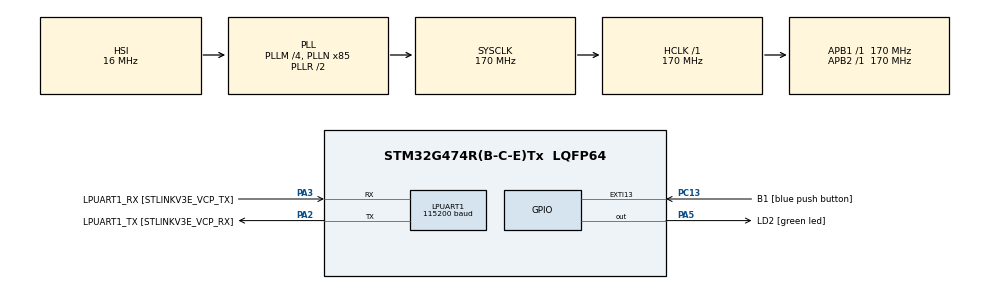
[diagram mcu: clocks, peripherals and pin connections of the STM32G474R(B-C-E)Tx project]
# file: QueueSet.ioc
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FREERTOS.Tasks01=defaultTask,24,128,StartDefaultTask,Default,NULL,Dynamic,NULL,NULL
FREERTOS.configENABLE_FPU=1
FREERTOS.configGENERATE_RUN_TIME_STATS=1
FREERTOS.configTOTAL_HEAP_SIZE=51200
FREERTOS.configUSE_NEWLIB_REENTRANT=1
FREERTOS.configUSE_STATS_FORMATTING_FUNCTIONS=1
LPUART1.BaudRate=115200
LPUART1.WordLength=UART_WORDLENGTH_8B
Mcu.Family=STM32G4
Mcu.Name=STM32G474R(B-C-E)Tx
Mcu.Package=LQFP64
NVIC.EXTI15_10_IRQn=true\:5\:0\:false\:false\:true\:true\:true\:true\:true
NVIC.PriorityGroup=NVIC_PRIORITYGROUP_4
NVIC.TIM1_UP_TIM16_IRQn=true\:15\:0\:false\:false\:true\:false\:false\:true\:true
NVIC.TimeBase=TIM1_UP_TIM16_IRQn
NVIC.TimeBaseIP=TIM1
PA13.GPIO_Label=T_SWDIO
PA13.Mode=Serial_Wire
PA13.Signal=SYS_JTMS-SWDIO
PA14.GPIO_Label=T_SWCLK
PA14.Mode=Serial_Wire
PA14.Signal=SYS_JTCK-SWCLK
PA2.GPIO_Label=LPUART1_TX [STLINKV3E_VCP_RX]
PA2.Mode=Asynchronous
PA2.Signal=LPUART1_TX
PA3.GPIO_Label=LPUART1_RX [STLINKV3E_VCP_TX]
PA3.Mode=Asynchronous
PA3.Signal=LPUART1_RX
PA5.GPIO_Label=LD2 [green led]
PA5.Signal=GPIO_Output
PB3.GPIO_Label=T_SWO
PB3.Signal=SYS_JTDO-SWO
PC13.GPIO_Label=B1 [blue push button]
PC13.Signal=GPXTI13
PC14-OSC32_IN.Mode=LSE-External-Oscillator
PC14-OSC32_IN.Signal=RCC_OSC32_IN
PC15-OSC32_OUT.Mode=LSE-External-Oscillator
PC15-OSC32_OUT.Signal=RCC_OSC32_OUT
PF0-OSC_IN.Mode=HSE-External-Oscillator
PF0-OSC_IN.Signal=RCC_OSC_IN
PF1-OSC_OUT.Mode=HSE-External-Oscillator
PF1-OSC_OUT.Signal=RCC_OSC_OUT
ProjectManager.HeapSize=0x200
ProjectManager.StackSize=0x400
ProjectManager.TargetToolchain=STM32CubeIDE
RCC.ADC12Freq_Value=170000000
RCC.ADC345Freq_Value=170000000
RCC.AHBFreq_Value=170000000
RCC.APB1Freq_Value=170000000
RCC.APB1TimFreq_Value=170000000
RCC.APB2Freq_Value=170000000
RCC.APB2TimFreq_Value=170000000
RCC.CortexFreq_Value=170000000
RCC.EXTERNAL_CLOCK_VALUE=12288000
RCC.HCLKFreq_Value=170000000
RCC.HSE_VALUE=24000000
RCC.HSI48_VALUE=48000000
RCC.HSI_VALUE=16000000
RCC.PLLM=RCC_PLLM_DIV4
RCC.PLLN=85
RCC.RTCClockSelection=RCC_RTCCLKSOURCE_LSE
RCC.SYSCLKFreq_VALUE=170000000
RCC.SYSCLKSource=RCC_SYSCLKSOURCE_PLLCLK
RCC.USBFreq_Value=170000000
RCC.VCOOutputFreq_Value=340000000
VP_FREERTOS_VS_CMSIS_V2.Mode=CMSIS_V2
VP_SYS_VS_DBSignals.Mode=DisableDeadBatterySignals
VP_SYS_VS_tim1.Mode=TIM1
board=NUCLEO-G474RE

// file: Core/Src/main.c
/* USER CODE BEGIN Header */
/**
  ******************************************************************************
  * @file           : main.c
  * @brief          : Main program body
  ******************************************************************************
  * @attention
  *
  * Copyright (c) 2023 STMicroelectronics.
  * All rights reserved.
  *
  * This software is licensed under terms that can be found in the LICENSE file
  * in the root directory of this software component.
  * If no LICENSE file comes with this software, it is provided AS-IS.
  *
  ******************************************************************************
  */
/* USER CODE END Header */
#include "main.h"
#include "cmsis_os.h"
#include "usart.h"
#include "gpio.h"

/* USER CODE BEGIN Includes */
#include "stdio.h"
/* USER CODE END Includes */

/* USER CODE BEGIN PD */
#ifdef __GNUC__
#define PUTCHAR_PROTOTYPE int __io_putchar(int ch)
#else
#define PUTCHAR_PROTOTYPE int fputc(int ch, FILE *f)
#endif
// 串口输出调试信息
PUTCHAR_PROTOTYPE {
    HAL_UART_Transmit(&hlpuart1, (uint8_t *) &ch, 1, 0xFFFF);//阻塞方式打印,串口1
    return ch;
}
/* USER CODE END PD */

void SystemClock_Config(void);
void MX_FREERTOS_Init(void);

int main(void)
{

  /* MCU Configuration--------------------------------------------------------*/

  /* Reset of all peripherals, Initializes the Flash interface and the Systick. */
  HAL_Init();

  /* Configure the system clock */
  SystemClock_Config();

  /* Initialize all configured peripherals */
  MX_GPIO_Init();
  MX_LPUART1_UART_Init();

  /* Init scheduler */
  osKernelInitialize();  /* Call init function for freertos objects (in freertos.c) */
  MX_FREERTOS_Init();

  /* Start scheduler */
  osKernelStart();

  /* We should never get here as control is now taken by the scheduler */
  /* Infinite loop */
  while (1)
  {

  }
}

void SystemClock_Config(void)
{
  RCC_OscInitTypeDef RCC_OscInitStruct = {0};
  RCC_ClkInitTypeDef RCC_ClkInitStruct = {0};

  /** Configure the main internal regulator output voltage
  */
  HAL_PWREx_ControlVoltageScaling(PWR_REGULATOR_VOLTAGE_SCALE1_BOOST);

  /** Initializes the RCC Oscillators according to the specified parameters
  * in the RCC_OscInitTypeDef structure.
  */
  RCC_OscInitStruct.OscillatorType = RCC_OSCILLATORTYPE_HSI;
  RCC_OscInitStruct.HSIState = RCC_HSI_ON;
  RCC_OscInitStruct.HSICalibrationValue = RCC_HSICALIBRATION_DEFAULT;
  RCC_OscInitStruct.PLL.PLLState = RCC_PLL_ON;
  RCC_OscInitStruct.PLL.PLLSource = RCC_PLLSOURCE_HSI;
  RCC_OscInitStruct.PLL.PLLM = RCC_PLLM_DIV4;
  RCC_OscInitStruct.PLL.PLLN = 85;
  RCC_OscInitStruct.PLL.PLLP = RCC_PLLP_DIV2;
  RCC_OscInitStruct.PLL.PLLQ = RCC_PLLQ_DIV2;
  RCC_OscInitStruct.PLL.PLLR = RCC_PLLR_DIV2;
  if (HAL_RCC_OscConfig(&RCC_OscInitStruct) != HAL_OK)
  {
    Error_Handler();
  }

  /** Initializes the CPU, AHB and APB buses clocks
  */
  RCC_ClkInitStruct.ClockType = RCC_CLOCKTYPE_HCLK|RCC_CLOCKTYPE_SYSCLK
                              |RCC_CLOCKTYPE_PCLK1|RCC_CLOCKTYPE_PCLK2;
  RCC_ClkInitStruct.SYSCLKSource = RCC_SYSCLKSOURCE_PLLCLK;
  RCC_ClkInitStruct.AHBCLKDivider = RCC_SYSCLK_DIV1;
  RCC_ClkInitStruct.APB1CLKDivider = RCC_HCLK_DIV1;
  RCC_ClkInitStruct.APB2CLKDivider = RCC_HCLK_DIV1;

  if (HAL_RCC_ClockConfig(&RCC_ClkInitStruct, FLASH_LATENCY_4) != HAL_OK)
  {
    Error_Handler();
  }
}

void HAL_TIM_PeriodElapsedCallback(TIM_HandleTypeDef *htim)
{
  if (htim->Instance == TIM1) {
    HAL_IncTick();
  }
}

void Error_Handler(void)
{
  __disable_irq();
  while (1)
  {
  }
}

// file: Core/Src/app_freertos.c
/* USER CODE BEGIN Header */
/**
  ******************************************************************************
  * File Name          : app_freertos.c
  * Description        : Code for freertos applications
  ******************************************************************************
  * @attention
  *
  * Copyright (c) 2023 STMicroelectronics.
  * All rights reserved.
  *
  * This software is licensed under terms that can be found in the LICENSE file
  * in the root directory of this software component.
  * If no LICENSE file comes with this software, it is provided AS-IS.
  *
  ******************************************************************************
  */
/* USER CODE END Header */

#include "FreeRTOS.h"
#include "task.h"
#include "main.h"
#include "cmsis_os.h"

/* USER CODE BEGIN Includes */
#include "stdio.h"
#include "queue.h"
#include "semphr.h"
#include "stdlib.h"
/* USER CODE END Includes */

/* USER CODE BEGIN Variables */
// 创建任务句柄
TaskHandle_t taskHandle1;
TaskHandle_t taskHandle2;
// 队列和队列集句柄
QueueSetHandle_t queueset_handle;
QueueHandle_t queue_handle;
QueueHandle_t semphr_handle;
/* USER CODE END Variables */
/* Definitions for defaultTask */
osThreadId_t defaultTaskHandle;
const osThreadAttr_t defaultTask_attributes = {
  .name = "defaultTask",
  .priority = (osPriority_t) osPriorityNormal,
  .stack_size = 1024
};

/* USER CODE BEGIN FunctionPrototypes */
void Task1(void *pvParameters);

void Task2(void *pvParameters);

/* USER CODE END FunctionPrototypes */

void StartDefaultTask(void *argument);

void MX_FREERTOS_Init(void); /* (MISRA C 2004 rule 8.1) */

/* Hook prototypes */
void configureTimerForRunTimeStats(void);
unsigned long getRunTimeCounterValue(void);

/* USER CODE BEGIN 1 */
/* Functions needed when configGENERATE_RUN_TIME_STATS is on */
__weak void configureTimerForRunTimeStats(void)
{

}

__weak unsigned long getRunTimeCounterValue(void)
{
return 0;
}
/* USER CODE END 1 */

void MX_FREERTOS_Init(void) {

  /* USER CODE BEGIN RTOS_SEMAPHORES */
    /* add semaphores, ... */
    // 创建队列集
    queueset_handle = xQueueCreateSet(2);
    if (queueset_handle != NULL){
        printf("队列集创建成功！\n");
    }
    // 创建队列
    queue_handle = xQueueCreate( 1, sizeof(uint8_t));
    // 创建二值信号量
    semphr_handle = xSemaphoreCreateBinary();
    // 将队列和信号量添加到队列集中
    BaseType_t res = 0;
    res = xQueueAddToSet(queue_handle,queueset_handle);
    if (res == pdPASS){
        printf("添加成功！\n");
    }
    res = xQueueAddToSet(semphr_handle,queueset_handle);
    if (res == pdPASS){
        printf("添加成功！\n");
    }
  /* USER CODE END RTOS_SEMAPHORES */

  /* Create the thread(s) */
  /* creation of defaultTask */
  defaultTaskHandle = osThreadNew(StartDefaultTask, NULL, &defaultTask_attributes);

  /* USER CODE BEGIN RTOS_THREADS */
    /* add threads, ... */
    xTaskCreate(Task1,"task1",200,NULL,osPriorityLow,&taskHandle1);
    xTaskCreate(Task2,"task2",200,NULL,osPriorityLow,&taskHandle2);
  /* USER CODE END RTOS_THREADS */

}

void StartDefaultTask(void *argument)
{
  /* USER CODE BEGIN StartDefaultTask */
    /* Infinite loop */
//    char *str_buffer;
    for (;;) {
//        str_buffer = malloc(500);
//        vTaskList(str_buffer);
//        printf("任务名\t\t\t状态\t优先级\t剩余栈\t任务序号\r\n");
//        printf("%s\r\n", str_buffer);
//        free(str_buffer);
        HAL_GPIO_TogglePin(LD2_GPIO_Port, LD2_Pin);
        osDelay(500);
    }
  /* USER CODE END StartDefaultTask */
}

/* USER CODE BEGIN Application */
void Task1(void *pvParameters) {
    // 任务一:实现队列发送以及信号量释放
    uint8_t key = 1;
    BaseType_t err = 0;
    while (1){
//        err = xQueueSend(queue_handle,&key,portMAX_DELAY);
//        if (err == pdPASS){
//            printf("队列写入数据成功！\n");
//        }
        vTaskDelay(1000);
        // 释放信号量
        err = xSemaphoreGive(semphr_handle);
        if (err == pdPASS){
            printf("信号量释放成功！\n");
        }
        vTaskDelay(1000);
    }
}

void Task2(void *pvParameters) {
    // 任务二:获取队列集消息
    QueueSetMemberHandle_t member_handle;
    uint8_t key;
    while (1){
        member_handle = xQueueSelectFromSet(queueset_handle,portMAX_DELAY);
        if (member_handle == NULL){
            printf("获取失败\n");
        }
        if (member_handle == queue_handle){
            xQueueReceive(member_handle,&key,portMAX_DELAY);
            printf("获取到的队列数据:%d\n",key);
        } else if (member_handle == semphr_handle){
            xSemaphoreTake(member_handle,portMAX_DELAY);
            printf("获取信号量成功\n");
        }
    }
}
/* USER CODE END Application */
